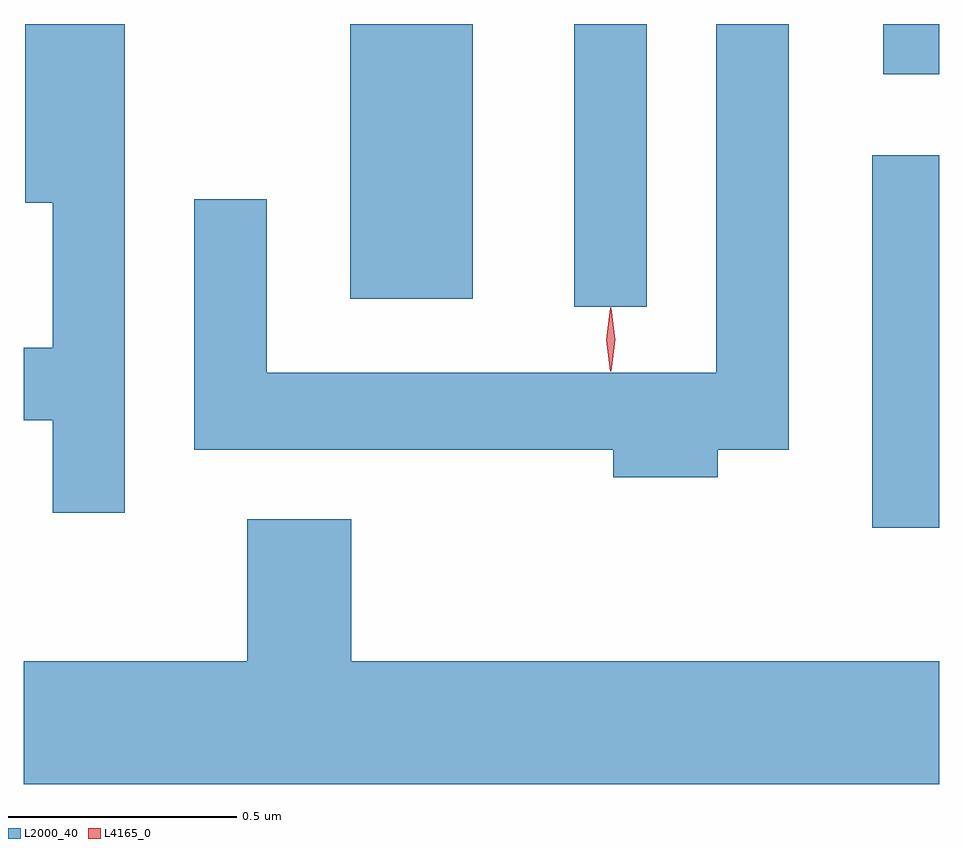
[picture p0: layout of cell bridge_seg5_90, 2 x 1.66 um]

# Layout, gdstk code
import gdstk
lib = gdstk.Library(unit=1e-6, precision=1e-09)
def R(c, l, rs):  # rectangles x0, y0, x1, y1
    for r in rs: c.add(gdstk.rectangle(r[:2], r[2:], *l))
def P(c, l, *ps):  # polygons
    for p in ps: c.add(gdstk.Polygon(p, *l))
L2000_40 = (2000, 40)
L4165_0 = (4165, 0)

bridge_seg5_90 = lib.new_cell('bridge_seg5_90')
R(bridge_seg5_90, L2000_40, [(1219.476,1486.216,1219.623,1487.029), (1218.826,1486.698,1218.984,1487.316), (1218.336,1486.716,1218.604,1487.316), (1219.501,1487.206,1219.623,1487.316)])
P(bridge_seg5_90, L2000_40, [(1219.139,1486.386),(1219.294,1486.386),(1219.294,1487.316),(1219.136,1487.316),(1219.136,1486.554),(1218.154,1486.554),(1218.154,1486.933),(1217.996,1486.933),(1217.996,1486.386),(1218.911,1486.386),(1218.911,1486.326),(1219.139,1486.326)],
  [(1217.844,1487.316),(1217.626,1487.316),(1217.626,1486.926),(1217.686,1486.926),(1217.686,1486.609),(1217.623,1486.609),(1217.623,1486.451),(1217.686,1486.451),(1217.686,1486.248),(1217.844,1486.248)],
  [(1219.623,1485.924),(1218.339,1485.924),(1218.339,1486.234),(1218.111,1486.234),(1218.111,1485.924),(1217.623,1485.924),(1217.623,1485.656),(1219.623,1485.656)])
P(bridge_seg5_90, L4165_0, [(1218.905,1486.559),(1218.904,1486.56),(1218.895,1486.626),(1218.904,1486.692),(1218.905,1486.693),(1218.905,1486.692),(1218.915,1486.626),(1218.905,1486.56)],
  [(1218.904,1486.557),(1218.895,1486.626),(1218.904,1486.696),(1218.905,1486.696),(1218.906,1486.696),(1218.915,1486.626),(1218.906,1486.557),(1218.905,1486.557)])

lib.write_gds('bridge_seg5_90.gds')
